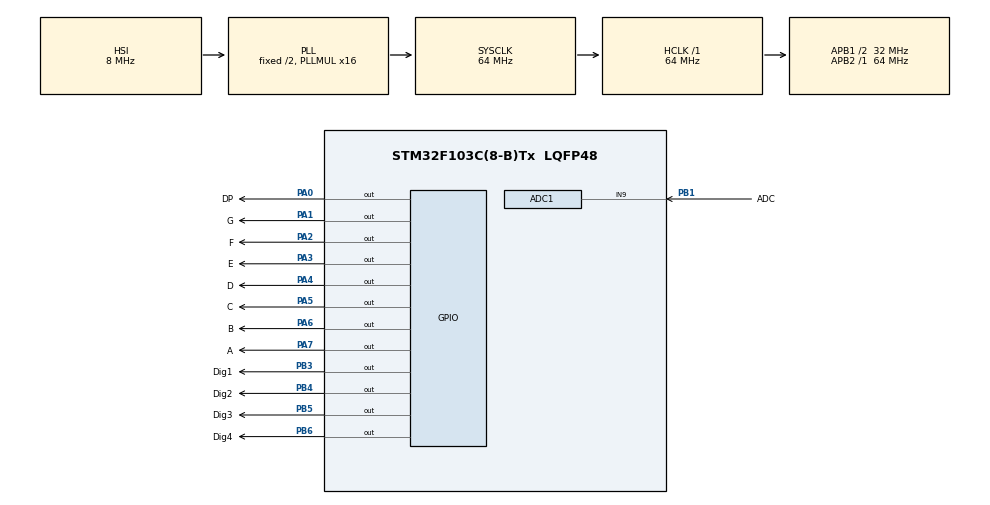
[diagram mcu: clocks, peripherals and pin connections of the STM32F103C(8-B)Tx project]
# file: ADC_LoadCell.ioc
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ADC1.Channel-0\#ChannelRegularConversion=ADC_CHANNEL_9
ADC1.NbrOfConversionFlag=1
ADC1.Rank-0\#ChannelRegularConversion=1
ADC1.SamplingTime-0\#ChannelRegularConversion=ADC_SAMPLETIME_239CYCLES_5
ADC1.master=1
Mcu.Family=STM32F1
Mcu.Name=STM32F103C(8-B)Tx
Mcu.Package=LQFP48
NVIC.ADC1_2_IRQn=true\:0\:0\:false\:false\:true\:true\:true\:true
NVIC.PriorityGroup=NVIC_PRIORITYGROUP_4
PA0-WKUP.GPIO_Label=DP
PA0-WKUP.Signal=GPIO_Output
PA1.GPIO_Label=G
PA1.Signal=GPIO_Output
PA13.Mode=Serial_Wire
PA13.Signal=SYS_JTMS-SWDIO
PA14.Mode=Serial_Wire
PA14.Signal=SYS_JTCK-SWCLK
PA2.GPIO_Label=F
PA2.Signal=GPIO_Output
PA3.GPIO_Label=E
PA3.Signal=GPIO_Output
PA4.GPIO_Label=D
PA4.Signal=GPIO_Output
PA5.GPIO_Label=C
PA5.Signal=GPIO_Output
PA6.GPIO_Label=B
PA6.Signal=GPIO_Output
PA7.GPIO_Label=A
PA7.Signal=GPIO_Output
PB1.GPIO_Label=ADC
PB1.Signal=ADCx_IN9
PB3.GPIO_Label=Dig1
PB3.Signal=GPIO_Output
PB4.GPIO_Label=Dig2
PB4.Signal=GPIO_Output
PB5.GPIO_Label=Dig3
PB5.Signal=GPIO_Output
PB6.GPIO_Label=Dig4
PB6.Signal=GPIO_Output
ProjectManager.HeapSize=0x200
ProjectManager.StackSize=0x400
ProjectManager.TargetToolchain=MDK-ARM V5.32
RCC.ADCPresc=RCC_ADCPCLK2_DIV6
RCC.AHBFreq_Value=64000000
RCC.APB1CLKDivider=RCC_HCLK_DIV2
RCC.APB1Freq_Value=32000000
RCC.APB1TimFreq_Value=64000000
RCC.APB2Freq_Value=64000000
RCC.APB2TimFreq_Value=64000000
RCC.HCLKFreq_Value=64000000
RCC.PLLMUL=RCC_PLL_MUL16
RCC.SYSCLKFreq_VALUE=64000000
RCC.SYSCLKSource=RCC_SYSCLKSOURCE_PLLCLK
RCC.USBFreq_Value=64000000
SH.ADCx_IN9.0=ADC1_IN9,IN9
board=custom

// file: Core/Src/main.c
/* USER CODE BEGIN Header */
/**
  ******************************************************************************
  * @file           : main.c
  * @brief          : Main program body
  ******************************************************************************
  * @attention
  *
  * Copyright (c) 2023 STMicroelectronics.
  * All rights reserved.
  *
  * This software is licensed under terms that can be found in the LICENSE file
  * in the root directory of this software component.
  * If no LICENSE file comes with this software, it is provided AS-IS.
  *
  ******************************************************************************
  */
/* USER CODE END Header */
#include "main.h"

/* USER CODE BEGIN Includes */
#include "math.h"
/* USER CODE END Includes */

ADC_HandleTypeDef hadc1;

void SystemClock_Config(void);
static void MX_GPIO_Init(void);
static void MX_ADC1_Init(void);

/* USER CODE BEGIN 0 */
uint32_t counter = 0;
uint8_t temp1, temp2, temp3, temp4;
float weightr;
uint32_t weights;
uint32_t a = 0;

#define D1_HIGH() HAL_GPIO_WritePin(GPIOB, Dig1_Pin, GPIO_PIN_SET)
#define D1_LOW() HAL_GPIO_WritePin(GPIOB, Dig1_Pin, GPIO_PIN_RESET)
#define D2_HIGH() HAL_GPIO_WritePin(GPIOB, Dig2_Pin, GPIO_PIN_SET)
#define D2_LOW() HAL_GPIO_WritePin(GPIOB, Dig2_Pin, GPIO_PIN_RESET)
#define D3_HIGH() HAL_GPIO_WritePin(GPIOB, Dig3_Pin, GPIO_PIN_SET)
#define D3_LOW() HAL_GPIO_WritePin(GPIOB, Dig3_Pin, GPIO_PIN_RESET)
#define D4_HIGH() HAL_GPIO_WritePin(GPIOB, Dig4_Pin, GPIO_PIN_SET)
#define D4_LOW() HAL_GPIO_WritePin(GPIOB, Dig4_Pin, GPIO_PIN_RESET)
uint8_t segmentNumber[10] = {
        0xc0,  // 0
        0xf9,  // 1
        0xa4,  // 2
        0xb0,  // 3
        0x99,  // 4
        0x92,  // 5
        0x82,  // 6
        0xf8,  // 7
        0x80,  // 8
        0x90   // 9
};
void SevenSegment_Update(uint8_t number){
	HAL_GPIO_WritePin(GPIOA, A_Pin, ((number>>0)&0x01));
	HAL_GPIO_WritePin(GPIOA, B_Pin, ((number>>1)&0x01));
	HAL_GPIO_WritePin(GPIOA, C_Pin, ((number>>2)&0x01));
	HAL_GPIO_WritePin(GPIOA, D_Pin, ((number>>3)&0x01));
	HAL_GPIO_WritePin(GPIOA, E_Pin, ((number>>4)&0x01));
	HAL_GPIO_WritePin(GPIOA, F_Pin, ((number>>5)&0x01));
	HAL_GPIO_WritePin(GPIOA, G_Pin, ((number>>6)&0x01));
}
void HAL_ADC_ConvCpltCallback(ADC_HandleTypeDef* hadc)
{
 if(hadc->Instance == hadc1.Instance) // kiem tra ADC nаo gвy ra ngat
 {
   weightr = (float)HAL_ADC_GetValue(&hadc1)/4905*2.7555;
	 weights = (round(weightr*100))-1;
 }
}
/* USER CODE END 0 */

int main(void)
{

  /* MCU Configuration--------------------------------------------------------*/

  /* Reset of all peripherals, Initializes the Flash interface and the Systick. */
  HAL_Init();

  /* Configure the system clock */
  SystemClock_Config();

  /* Initialize all configured peripherals */
  MX_GPIO_Init();
  MX_ADC1_Init();

  /* Infinite loop */
  while (1)
  {

    /* USER CODE BEGIN 3 */
		HAL_ADC_Start_IT(&hadc1);
		if(weights>5)
		{
			if(counter <5){
					a = a + weights;
				}
			else
			{
				temp1 = a/1000; //1 - 1st digit
				temp2 = ((a/100)%10); //2 - 2nd digit
				temp3 = ((a/10)%10); //3 - 3rd digit
				temp4 = (a%10); //4 - 4th digit
				SevenSegment_Update(segmentNumber[temp1]);
				D1_HIGH();
				HAL_GPIO_WritePin(GPIOA, DP_Pin, GPIO_PIN_SET);
				HAL_Delay(3);
				D1_LOW();

				SevenSegment_Update(segmentNumber[temp2]);
				D2_HIGH();
				HAL_GPIO_WritePin(GPIOA, DP_Pin, GPIO_PIN_RESET);
				HAL_Delay(3);
				D2_LOW();

				SevenSegment_Update(segmentNumber[temp3]);
				D3_HIGH();
				HAL_GPIO_WritePin(GPIOA, DP_Pin, GPIO_PIN_SET);
				HAL_Delay(3);
				D3_LOW();

				SevenSegment_Update(segmentNumber[temp4]);
				D4_HIGH();
				HAL_GPIO_WritePin(GPIOA, DP_Pin, GPIO_PIN_SET);
				HAL_Delay(3);
				D4_LOW();
				counter ++;}
  }if(weights<5){counter = 0;}
  /* USER CODE END 3 */
}

void SystemClock_Config(void)
{
  RCC_OscInitTypeDef RCC_OscInitStruct = {0};
  RCC_ClkInitTypeDef RCC_ClkInitStruct = {0};
  RCC_PeriphCLKInitTypeDef PeriphClkInit = {0};

  /** Initializes the RCC Oscillators according to the specified parameters
  * in the RCC_OscInitTypeDef structure.
  */
  RCC_OscInitStruct.OscillatorType = RCC_OSCILLATORTYPE_HSI;
  RCC_OscInitStruct.HSIState = RCC_HSI_ON;
  RCC_OscInitStruct.HSICalibrationValue = RCC_HSICALIBRATION_DEFAULT;
  RCC_OscInitStruct.PLL.PLLState = RCC_PLL_ON;
  RCC_OscInitStruct.PLL.PLLSource = RCC_PLLSOURCE_HSI_DIV2;
  RCC_OscInitStruct.PLL.PLLMUL = RCC_PLL_MUL16;
  if (HAL_RCC_OscConfig(&RCC_OscInitStruct) != HAL_OK)
  {
    Error_Handler();
  }

  /** Initializes the CPU, AHB and APB buses clocks
  */
  RCC_ClkInitStruct.ClockType = RCC_CLOCKTYPE_HCLK|RCC_CLOCKTYPE_SYSCLK
                              |RCC_CLOCKTYPE_PCLK1|RCC_CLOCKTYPE_PCLK2;
  RCC_ClkInitStruct.SYSCLKSource = RCC_SYSCLKSOURCE_PLLCLK;
  RCC_ClkInitStruct.AHBCLKDivider = RCC_SYSCLK_DIV1;
  RCC_ClkInitStruct.APB1CLKDivider = RCC_HCLK_DIV2;
  RCC_ClkInitStruct.APB2CLKDivider = RCC_HCLK_DIV1;

  if (HAL_RCC_ClockConfig(&RCC_ClkInitStruct, FLASH_LATENCY_2) != HAL_OK)
  {
    Error_Handler();
  }
  PeriphClkInit.PeriphClockSelection = RCC_PERIPHCLK_ADC;
  PeriphClkInit.AdcClockSelection = RCC_ADCPCLK2_DIV6;
  if (HAL_RCCEx_PeriphCLKConfig(&PeriphClkInit) != HAL_OK)
  {
    Error_Handler();
  }
}

static void MX_ADC1_Init(void)
{

  ADC_ChannelConfTypeDef sConfig = {0};

  /** Common config
  */
  hadc1.Instance = ADC1;
  hadc1.Init.ScanConvMode = ADC_SCAN_DISABLE;
  hadc1.Init.ContinuousConvMode = DISABLE;
  hadc1.Init.DiscontinuousConvMode = DISABLE;
  hadc1.Init.ExternalTrigConv = ADC_SOFTWARE_START;
  hadc1.Init.DataAlign = ADC_DATAALIGN_RIGHT;
  hadc1.Init.NbrOfConversion = 1;
  if (HAL_ADC_Init(&hadc1) != HAL_OK)
  {
    Error_Handler();
  }

  /** Configure Regular Channel
  */
  sConfig.Channel = ADC_CHANNEL_9;
  sConfig.Rank = ADC_REGULAR_RANK_1;
  sConfig.SamplingTime = ADC_SAMPLETIME_239CYCLES_5;
  if (HAL_ADC_ConfigChannel(&hadc1, &sConfig) != HAL_OK)
  {
    Error_Handler();
  }

}

static void MX_GPIO_Init(void)
{
  GPIO_InitTypeDef GPIO_InitStruct = {0};

  /* GPIO Ports Clock Enable */
  __HAL_RCC_GPIOA_CLK_ENABLE();
  __HAL_RCC_GPIOB_CLK_ENABLE();

  /*Configure GPIO pin Output Level */
  HAL_GPIO_WritePin(GPIOA, GPIO_PIN_0|GPIO_PIN_1|GPIO_PIN_2|GPIO_PIN_3
                          |GPIO_PIN_4|GPIO_PIN_5|GPIO_PIN_6|GPIO_PIN_7, GPIO_PIN_RESET);

  /*Configure GPIO pin Output Level */
  HAL_GPIO_WritePin(GPIOB, GPIO_PIN_3|GPIO_PIN_4|GPIO_PIN_5|GPIO_PIN_6, GPIO_PIN_RESET);

  /*Configure GPIO pins : PA0 PA1 PA2 PA3
                           PA4 PA5 PA6 PA7 */
  GPIO_InitStruct.Pin = GPIO_PIN_0|GPIO_PIN_1|GPIO_PIN_2|GPIO_PIN_3
                          |GPIO_PIN_4|GPIO_PIN_5|GPIO_PIN_6|GPIO_PIN_7;
  GPIO_InitStruct.Mode = GPIO_MODE_OUTPUT_PP;
  GPIO_InitStruct.Pull = GPIO_NOPULL;
  GPIO_InitStruct.Speed = GPIO_SPEED_FREQ_LOW;
  HAL_GPIO_Init(GPIOA, &GPIO_InitStruct);

  /*Configure GPIO pins : PB3 PB4 PB5 PB6 */
  GPIO_InitStruct.Pin = GPIO_PIN_3|GPIO_PIN_4|GPIO_PIN_5|GPIO_PIN_6;
  GPIO_InitStruct.Mode = GPIO_MODE_OUTPUT_PP;
  GPIO_InitStruct.Pull = GPIO_NOPULL;
  GPIO_InitStruct.Speed = GPIO_SPEED_FREQ_LOW;
  HAL_GPIO_Init(GPIOB, &GPIO_InitStruct);

}

void Error_Handler(void)
{
  __disable_irq();
  while (1)
  {
  }
}
